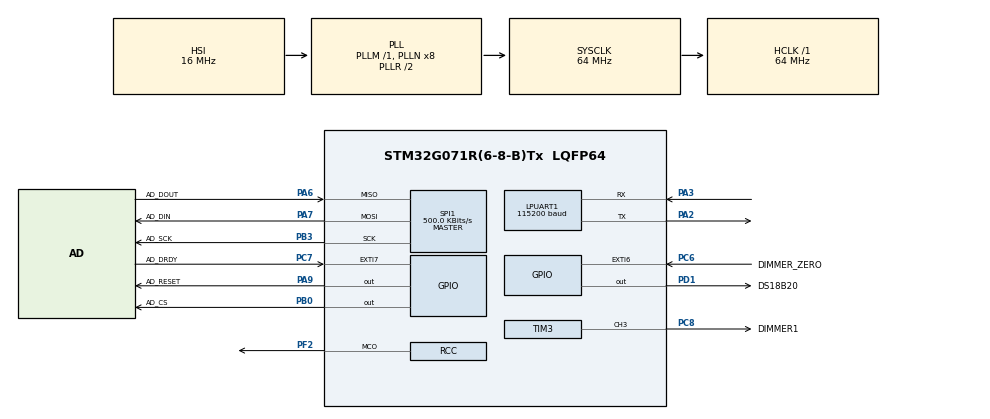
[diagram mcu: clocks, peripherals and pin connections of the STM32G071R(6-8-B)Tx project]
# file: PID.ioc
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FREERTOS.Queues01=AD7705Queue,1,uint16_t,0,Dynamic,NULL,NULL
FREERTOS.Tasks01=CalcTask,24,256,StartCalcTask,Default,NULL,Dynamic,NULL,NULL;AD7705Task,8,128,StartAD7705Task,Default,NULL,Dynamic,NULL,NULL
FREERTOS.Timers01=DS18B20Timer,DS18B20Callback,osTimerPeriodic,Default,NULL,Dynamic,NULL;ad7705_2_Timer,ad7705_2_Callback,osTimerPeriodic,Default,NULL,Dynamic,NULL
FREERTOS.configUSE_NEWLIB_REENTRANT=1
LPUART1.BaudRate=115200
LPUART1.WordLength=UART_WORDLENGTH_8B
Mcu.Family=STM32G0
Mcu.Name=STM32G071R(6-8-B)Tx
Mcu.Package=LQFP64
NVIC.EXTI4_15_IRQn=true\:3\:0\:true\:false\:true\:true\:true\:true
NVIC.TIM7_LPTIM2_IRQn=true\:3\:0\:false\:false\:true\:false\:false\:true
NVIC.TimeBase=TIM7_LPTIM2_IRQn
NVIC.TimeBaseIP=TIM7
PA13.Mode=Serial_Wire
PA13.Signal=SYS_SWDIO
PA14-BOOT0.Mode=Serial_Wire
PA14-BOOT0.Signal=SYS_SWCLK
PA2.Mode=Asynchronous
PA2.Signal=LPUART1_TX
PA3.Mode=Asynchronous
PA3.Signal=LPUART1_RX
PA6.GPIO_Label=AD_DOUT
PA6.GPIO_Speed=GPIO_SPEED_FREQ_HIGH
PA6.Mode=Full_Duplex_Master
PA6.Signal=SPI1_MISO
PA7.GPIO_Label=AD_DIN
PA7.GPIO_Speed=GPIO_SPEED_FREQ_HIGH
PA7.Mode=Full_Duplex_Master
PA7.Signal=SPI1_MOSI
PA9.GPIO_Label=AD_RESET
PA9.Signal=GPIO_Output
PB0.GPIO_Label=AD_CS
PB0.GPIO_Speed=GPIO_SPEED_FREQ_HIGH
PB0.PinState=GPIO_PIN_SET
PB0.Signal=GPIO_Output
PB3.GPIO_Label=AD_SCK
PB3.GPIO_Speed=GPIO_SPEED_FREQ_HIGH
PB3.Mode=Full_Duplex_Master
PB3.Signal=SPI1_SCK
PC6.GPIO_Label=DIMMER_ZERO
PC6.GPIO_ModeDefaultEXTI=GPIO_MODE_IT_FALLING
PC6.Signal=GPXTI6
PC7.GPIO_Label=AD_DRDY
PC7.GPIO_ModeDefaultEXTI=GPIO_MODE_IT_FALLING
PC7.GPIO_PuPd=GPIO_PULLUP
PC7.Signal=GPXTI7
PC8.GPIO_Label=DIMMER1
PC8.GPIO_Speed=GPIO_SPEED_FREQ_VERY_HIGH
PC8.Signal=S_TIM3_CH3
PD1.GPIO_Label=DS18B20
PD1.GPIO_ModeDefaultOutputPP=GPIO_MODE_OUTPUT_OD
PD1.GPIO_Speed=GPIO_SPEED_FREQ_HIGH
PD1.Signal=GPIO_Output
PF2\ -\ NRST.Mode=Clock-out
PF2\ -\ NRST.Signal=RCC_MCO
ProjectManager.HeapSize=0x200
ProjectManager.StackSize=0x400
ProjectManager.TargetToolchain=STM32CubeIDE
RCC.ADCFreq_Value=64000000
RCC.AHBFreq_Value=64000000
RCC.CortexFreq_Value=64000000
RCC.EXTERNAL_CLOCK_VALUE=48000
RCC.HCLKFreq_Value=64000000
RCC.HSE_VALUE=8000000
RCC.HSI_VALUE=16000000
RCC.LSE_VALUE=32768
RCC.RCC_MCODiv=RCC_MCODIV_8
RCC.SYSCLKFreq_VALUE=64000000
RCC.SYSCLKSource=RCC_SYSCLKSOURCE_PLLCLK
RCC.VCOOutputFreq_Value=128000000
SH.S_TIM3_CH3.0=TIM3_CH3,PWM Generation3 CH3
SPI1.BaudRatePrescaler=SPI_BAUDRATEPRESCALER_128
SPI1.CLKPhase=SPI_PHASE_2EDGE
SPI1.CLKPolarity=SPI_POLARITY_HIGH
SPI1.CRCCalculation=SPI_CRCCALCULATION_DISABLE
SPI1.CalculateBaudRate=500.0 KBits/s
SPI1.DataSize=SPI_DATASIZE_8BIT
SPI1.Direction=SPI_DIRECTION_2LINES
SPI1.Mode=SPI_MODE_MASTER
SPI1.VirtualType=VM_MASTER
TIM3.Channel-PWM\ Generation3\ CH3=TIM_CHANNEL_3
TIM3.OCMode_PWM-PWM\ Generation3\ CH3=TIM_OCMODE_PWM2
TIM3.Period=9000
TIM3.Prescaler=63
TIM3.Pulse-PWM\ Generation3\ CH3=5000
TIM6.Period=0xffff-1
TIM6.Prescaler=64-1
VP_FREERTOS_VS_CMSIS_V2.Mode=CMSIS_V2
VP_SYS_VS_DBSignals.Mode=DisableDeadBatterySignals
VP_SYS_VS_tim7.Mode=TIM7
VP_TIM3_VS_ClockSourceINT.Mode=Internal
VP_TIM3_VS_OPM.Mode=OPM_bit
VP_TIM6_VS_ClockSourceINT.Mode=Enable_Timer
board=custom

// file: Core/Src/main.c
/* USER CODE BEGIN Header */
/**
  ******************************************************************************
  * @file           : main.c
  * @brief          : Main program body
  ******************************************************************************
  * @attention
  *
  * <h2><center>&copy; Copyright (c) 2021 STMicroelectronics.
  * All rights reserved.</center></h2>
  *
  * This software component is licensed by ST under Ultimate Liberty license
  * SLA0044, the "License"; You may not use this file except in compliance with
  * the License. You may obtain a copy of the License at:
  *                             www.st.com/SLA0044
  *
  ******************************************************************************
  */
/* USER CODE END Header */
#include "main.h"
#include "cmsis_os.h"
#include "usart.h"
#include "spi.h"
#include "tim.h"
#include "gpio.h"

/* USER CODE BEGIN Includes */
#include "retarget.h"

/* USER CODE END Includes */

void SystemClock_Config(void);
void MX_FREERTOS_Init(void);

int main(void)
{

  /* MCU Configuration--------------------------------------------------------*/

  /* Reset of all peripherals, Initializes the Flash interface and the Systick. */
  HAL_Init();

  /* Configure the system clock */
  SystemClock_Config();

  /* Initialize all configured peripherals */
  MX_GPIO_Init();
  MX_LPUART1_UART_Init();
  MX_SPI1_Init();
  MX_TIM3_Init();
  MX_TIM6_Init();
  /* USER CODE BEGIN 2 */
  RetargetInit(&hlpuart1);
  //ad7705_Init(CHN_AIN1, GAIN_64, RATE_250, UNIPOLAR);
  //ad7705_Init(CHN_AIN2, GAIN_64, RATE_250, UNIPOLAR);
  HAL_TIM_Base_Start(&htim6);
  ds18b20_Init(DS18B20_Resolution_12_bit);

  /* USER CODE END 2 */

  /* Init scheduler */
  osKernelInitialize();  /* Call init function for freertos objects (in freertos.c) */
  MX_FREERTOS_Init();
  /* Start scheduler */
  osKernelStart();

  /* We should never get here as control is now taken by the scheduler */
  /* Infinite loop */
  while (1)
  {

  }
}

void SystemClock_Config(void)
{
  RCC_OscInitTypeDef RCC_OscInitStruct = {0};
  RCC_ClkInitTypeDef RCC_ClkInitStruct = {0};
  RCC_PeriphCLKInitTypeDef PeriphClkInit = {0};

  /** Configure the main internal regulator output voltage
  */
  HAL_PWREx_ControlVoltageScaling(PWR_REGULATOR_VOLTAGE_SCALE1);
  /** Initializes the RCC Oscillators according to the specified parameters
  * in the RCC_OscInitTypeDef structure.
  */
  RCC_OscInitStruct.OscillatorType = RCC_OSCILLATORTYPE_HSI;
  RCC_OscInitStruct.HSIState = RCC_HSI_ON;
  RCC_OscInitStruct.HSIDiv = RCC_HSI_DIV1;
  RCC_OscInitStruct.HSICalibrationValue = RCC_HSICALIBRATION_DEFAULT;
  RCC_OscInitStruct.PLL.PLLState = RCC_PLL_ON;
  RCC_OscInitStruct.PLL.PLLSource = RCC_PLLSOURCE_HSI;
  RCC_OscInitStruct.PLL.PLLM = RCC_PLLM_DIV1;
  RCC_OscInitStruct.PLL.PLLN = 8;
  RCC_OscInitStruct.PLL.PLLP = RCC_PLLP_DIV2;
  RCC_OscInitStruct.PLL.PLLQ = RCC_PLLQ_DIV2;
  RCC_OscInitStruct.PLL.PLLR = RCC_PLLR_DIV2;
  if (HAL_RCC_OscConfig(&RCC_OscInitStruct) != HAL_OK)
  {
    Error_Handler();
  }
  /** Initializes the CPU, AHB and APB buses clocks
  */
  RCC_ClkInitStruct.ClockType = RCC_CLOCKTYPE_HCLK|RCC_CLOCKTYPE_SYSCLK
                              |RCC_CLOCKTYPE_PCLK1;
  RCC_ClkInitStruct.SYSCLKSource = RCC_SYSCLKSOURCE_PLLCLK;
  RCC_ClkInitStruct.AHBCLKDivider = RCC_SYSCLK_DIV1;
  RCC_ClkInitStruct.APB1CLKDivider = RCC_HCLK_DIV1;

  if (HAL_RCC_ClockConfig(&RCC_ClkInitStruct, FLASH_LATENCY_2) != HAL_OK)
  {
    Error_Handler();
  }
  /** Initializes the peripherals clocks
  */
  PeriphClkInit.PeriphClockSelection = RCC_PERIPHCLK_LPUART1;
  PeriphClkInit.Lpuart1ClockSelection = RCC_LPUART1CLKSOURCE_PCLK1;
  if (HAL_RCCEx_PeriphCLKConfig(&PeriphClkInit) != HAL_OK)
  {
    Error_Handler();
  }
  HAL_RCC_MCOConfig(RCC_MCO1, RCC_MCO1SOURCE_SYSCLK, RCC_MCODIV_8);
}

/* USER CODE BEGIN 4 */
void delay_us (uint16_t us)
{
	__HAL_TIM_SET_COUNTER(&htim6,0);  // set the counter value a 0
	while (__HAL_TIM_GET_COUNTER(&htim6) < us);  // wait for the counter to reach the us input in the parameter
}

/* USER CODE END 4 */

void HAL_TIM_PeriodElapsedCallback(TIM_HandleTypeDef *htim)
{
  if (htim->Instance == TIM7) {
    HAL_IncTick();
  }
}

void Error_Handler(void)
{
  __disable_irq();
  while (1)
  {
  }
}

/************************ (C) COPYRIGHT STMicroelectronics *****END OF FILE****/

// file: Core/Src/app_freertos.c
/* USER CODE BEGIN Header */
/**
  ******************************************************************************
  * File Name          : app_freertos.c
  * Description        : Code for freertos applications
  ******************************************************************************
  * @attention
  *
  * <h2><center>&copy; Copyright (c) 2021 STMicroelectronics.
  * All rights reserved.</center></h2>
  *
  * This software component is licensed by ST under Ultimate Liberty license
  * SLA0044, the "License"; You may not use this file except in compliance with
  * the License. You may obtain a copy of the License at:
  *                             www.st.com/SLA0044
  *
  ******************************************************************************
  */
/* USER CODE END Header */

#include "FreeRTOS.h"
#include "task.h"
#include "main.h"
#include "cmsis_os.h"

/* USER CODE BEGIN Variables */

uint16_t t_ds_ish;

struct {
	uint16_t t_ad_1_ish;
	uint16_t t_ad_2_ish;
} t_ad;

/* USER CODE END Variables */
/* Definitions for CalcTask */
osThreadId_t CalcTaskHandle;
const osThreadAttr_t CalcTask_attributes = {
  .name = "CalcTask",
  .priority = (osPriority_t) osPriorityNormal,
  .stack_size = 256 * 4
};
/* Definitions for AD7705Task */
osThreadId_t AD7705TaskHandle;
const osThreadAttr_t AD7705Task_attributes = {
  .name = "AD7705Task",
  .priority = (osPriority_t) osPriorityLow,
  .stack_size = 128 * 4
};
/* Definitions for AD7705Queue */
osMessageQueueId_t AD7705QueueHandle;
const osMessageQueueAttr_t AD7705Queue_attributes = {
  .name = "AD7705Queue"
};
/* Definitions for DS18B20Timer */
osTimerId_t DS18B20TimerHandle;
const osTimerAttr_t DS18B20Timer_attributes = {
  .name = "DS18B20Timer"
};
/* Definitions for ad7705_2_Timer */
osTimerId_t ad7705_2_TimerHandle;
const osTimerAttr_t ad7705_2_Timer_attributes = {
  .name = "ad7705_2_Timer"
};

void StartCalcTask(void *argument);
void StartAD7705Task(void *argument);
void DS18B20Callback(void *argument);
void ad7705_2_Callback(void *argument);

void MX_FREERTOS_Init(void); /* (MISRA C 2004 rule 8.1) */

void MX_FREERTOS_Init(void) {

  /* Create the timer(s) */
  /* creation of DS18B20Timer */
  DS18B20TimerHandle = osTimerNew(DS18B20Callback, osTimerPeriodic, NULL, &DS18B20Timer_attributes);

  /* creation of ad7705_2_Timer */
  ad7705_2_TimerHandle = osTimerNew(ad7705_2_Callback, osTimerPeriodic, NULL, &ad7705_2_Timer_attributes);

  /* USER CODE BEGIN RTOS_TIMERS */
  /* start timers, add new ones, ... */
  osTimerStart(DS18B20TimerHandle, 2000);
  osTimerStart(ad7705_2_TimerHandle, 500);
  /* USER CODE END RTOS_TIMERS */

  /* Create the queue(s) */
  /* creation of AD7705Queue */
  AD7705QueueHandle = osMessageQueueNew (1, sizeof(uint16_t), &AD7705Queue_attributes);

  /* Create the thread(s) */
  /* creation of CalcTask */
  CalcTaskHandle = osThreadNew(StartCalcTask, NULL, &CalcTask_attributes);

  /* creation of AD7705Task */
  AD7705TaskHandle = osThreadNew(StartAD7705Task, NULL, &AD7705Task_attributes);

}

void StartCalcTask(void *argument)
{
  /* USER CODE BEGIN StartCalcTask */
  /* Infinite loop */
  for(;;)
  {
	  osMessageQueueGet(AD7705QueueHandle, &t_ad, 0, osWaitForever);
	  printf("Therm AD7705 1ch ish: %i \n\r", t_ad.t_ad_1_ish);
	  printf("Therm AD7705 2ch ish: %i \n\r", t_ad.t_ad_2_ish);
	  printf("Therm DS18B20 ish: %i \n\r", t_ds_ish);
	  osDelay(1000);
  }
  /* USER CODE END StartCalcTask */
}

void StartAD7705Task(void *argument)
{
  /* USER CODE BEGIN StartAD7705Task */
	const TickType_t xBlockTime = pdMS_TO_TICKS( 500 );
  /* Infinite loop */

  for(;;)
  {
	  //if (osSemaphoreAcquire(DRDYSemHandle, osWaitForever) == osOK){
	  ad7705_Init(CHN_AIN1, GAIN_64, RATE_200, UNIPOLAR);
	  //if(xTaskNotifyWait(0xffffffff, 0xffffffff, NULL, osWaitForever) == pdPASS)
	  osDelay(500);
	  if (ulTaskNotifyTake( pdFALSE,   xBlockTime ) > 0)
	  {
		  t_ad.t_ad_1_ish = readADResult(CHN_AIN1);
	  }
	  //osDelay(50);
	  ad7705_Init(CHN_AIN2, GAIN_64, RATE_200, UNIPOLAR);
	  //if(xTaskNotifyWait(0xffffffff, 0xffffffff, NULL, osWaitForever) == pdPASS)
	  osDelay(500);
	  if (ulTaskNotifyTake( pdFALSE,   xBlockTime ) > 0)
	  {
		  t_ad.t_ad_2_ish = readADResult(CHN_AIN2);
	  }
	  osMessageQueuePut(AD7705QueueHandle, &t_ad, 0, osWaitForever);
	  osDelay(1);
  }
  /* USER CODE END StartAD7705Task */
}

/* DS18B20Callback function */
void DS18B20Callback(void *argument)
{
  /* USER CODE BEGIN DS18B20Callback */
	t_ds_ish = ds18b20_getTemperature();
  /* USER CODE END DS18B20Callback */
}

/* ad7705_2_Callback function */
void ad7705_2_Callback(void *argument)
{
  /* USER CODE BEGIN ad7705_2_Callback */
//	ad7705_Init(CHN_AIN2, GAIN_64, RATE_250, UNIPOLAR);
//	if(xTaskNotifyWait(0xffffffff, 0xffffffff, NULL, osWaitForever) == pdPASS){
//		t_ad_2_ish = readADResult(CHN_AIN2);
//	}

  /* USER CODE END ad7705_2_Callback */
}

/* USER CODE BEGIN Application */
void HAL_GPIO_EXTI_Falling_Callback(uint16_t GPIO_Pin)
{
	BaseType_t xHigherPriorityTaskWoken;
	xHigherPriorityTaskWoken = pdFALSE;

	if(GPIO_Pin == AD_DRDY_Pin) {
		//osSemaphoreRelease(DRDYSemHandle);
		//xTaskNotifyFromISR(AD7705TaskHandle, 1, eNoAction, pdFALSE);

		vTaskNotifyGiveFromISR( AD7705TaskHandle, &xHigherPriorityTaskWoken );
		portEND_SWITCHING_ISR( xHigherPriorityTaskWoken );

	}
}
/* USER CODE END Application */

/************************ (C) COPYRIGHT STMicroelectronics *****END OF FILE****/
